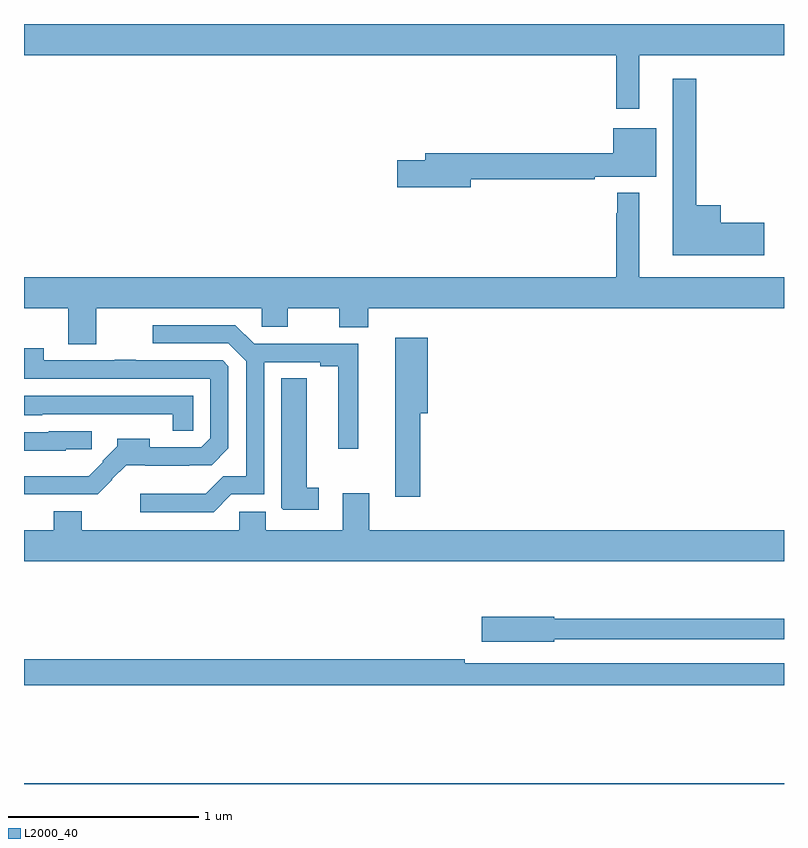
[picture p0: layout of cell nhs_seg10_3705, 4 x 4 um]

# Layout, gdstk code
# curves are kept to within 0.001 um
import gdstk
lib = gdstk.Library(unit=1e-6, precision=1e-09)
def R(c, l, rs):  # rectangles x0, y0, x1, y1
    for r in rs: c.add(gdstk.rectangle(r[:2], r[2:], *l))
def P(c, l, *ps):  # polygons
    for p in ps: c.add(gdstk.Polygon(p, *l))
L2000_40 = (2000, 40)

nhs_seg10_3705 = lib.new_cell('nhs_seg10_3705')
R(nhs_seg10_3705, L2000_40, [(313,1276.5,317,1276.504)])
P(nhs_seg10_3705, L2000_40, [(316.237,1280.336),(317,1280.336),(317,1280.5),(313,1280.5),(313,1280.336),(316.116,1280.336),(316.116,1280.055),(316.237,1280.055)],
  [(316.897,1279.454),(316.666,1279.454),(316.666,1279.546),(316.537,1279.546),(316.537,1280.212),(316.415,1280.212),(316.415,1279.283),(316.897,1279.283)],
  [(315.352,1279.684),(316.004,1279.684),(316.004,1279.697),(316.327,1279.697),(316.327,1279.951),(316.1,1279.951),(316.1,1279.82),(315.113,1279.82),(315.113,1279.784),(314.964,1279.784),(314.964,1279.642),(315.352,1279.642)],
  [(313.381,1279.004),(314.25,1279.004),(314.25,1278.906),(314.389,1278.906),(314.389,1279.004),(314.66,1279.004),(314.66,1278.905),(314.813,1278.905),(314.813,1279.004),(317,1279.004),(317,1279.168),(316.237,1279.168),(316.237,1279.612),(316.122,1279.612),(316.122,1279.505),(316.116,1279.505),(316.116,1279.168),(313,1279.168),(313,1279.004),(313.234,1279.004),(313.234,1278.814),(313.381,1278.814)],
  [(314.091,1278.024),(314.265,1278.024),(314.265,1278.72),(314.558,1278.72),(314.558,1278.7),(314.654,1278.7),(314.654,1278.264),(314.758,1278.264),(314.758,1278.816),(314.212,1278.816),(314.113,1278.915),(313.677,1278.915),(313.677,1278.819),(314.076,1278.819),(314.169,1278.726),(314.169,1278.119),(314.048,1278.119),(313.957,1278.028),(313.611,1278.028),(313.611,1277.931),(313.998,1277.931)],
  [(315.086,1278.452),(315.125,1278.452),(315.125,1278.85),(314.954,1278.85),(314.954,1278.012),(315.086,1278.012)],
  [(313.465,1278.101),(313.463,1278.103),(313.537,1278.177),(313.871,1278.176),(313.871,1278.178),(313.987,1278.178),(314.076,1278.267),(314.076,1278.699),(314.046,1278.729),(313.589,1278.729),(313.589,1278.734),(313.477,1278.734),(313.477,1278.729),(313.104,1278.729),(313.104,1278.793),(313,1278.793),(313,1278.633),(313.98,1278.633),(313.98,1278.321),(313.932,1278.273),(313.663,1278.273),(313.663,1278.316),(313.492,1278.316),(313.492,1278.277),(313.413,1278.198),(313.416,1278.195),(313.34,1278.119),(313.238,1278.119),(313.238,1278.121),(313,1278.121),(313,1278.024),(313.389,1278.024)],
  [(314.551,1278.059),(314.488,1278.059),(314.488,1278.635),(314.354,1278.635),(314.354,1277.953),(314.364,1277.943),(314.551,1277.943)],
  [(313.89,1278.543),(313,1278.543),(313,1278.44),(313.095,1278.44),(313.095,1278.447),(313.527,1278.447),(313.527,1278.446),(313.782,1278.446),(313.782,1278.358),(313.89,1278.358)],
  [(313.221,1278.261),(313.356,1278.261),(313.356,1278.357),(313.131,1278.357),(313.131,1278.351),(313,1278.351),(313,1278.254),(313.221,1278.254)],
  [(317,1277.836),(314.818,1277.836),(314.818,1278.031),(314.678,1278.031),(314.678,1277.836),(314.272,1277.836),(314.272,1277.934),(314.133,1277.934),(314.133,1277.836),(313.305,1277.836),(313.305,1277.935),(313.157,1277.935),(313.157,1277.836),(313,1277.836),(313,1277.672),(317,1277.672)],
  [(315.792,1277.262),(317,1277.262),(317,1277.371),(315.792,1277.371),(315.792,1277.379),(315.408,1277.379),(315.408,1277.249),(315.792,1277.249)],
  [(317,1277.136),(315.32,1277.136),(315.32,1277.156),(313,1277.156),(313,1277.02),(317,1277.02)])

lib.write_gds('nhs_seg10_3705.gds')
